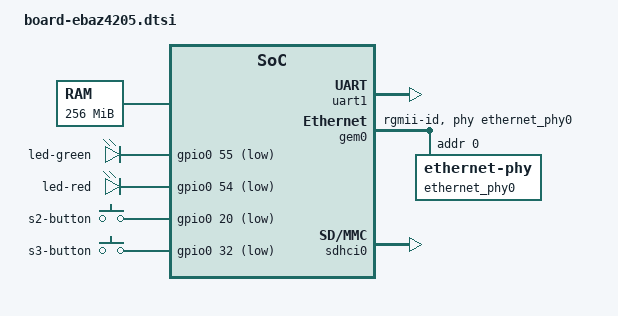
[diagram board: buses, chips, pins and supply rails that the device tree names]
/ {
	chosen {
		bootargs = "console=ttyPS0,115200 earlyprintk root=/dev/mmcblk0p2 rw";
                stdout-path = "serial0:115200n8";
	};

        aliases {
		ethernet0 = &gem0;
		serial0 = &uart1;
		mmc0 = &sdhci0;
	};

	memory@0 {
		device_type = "memory";
		reg = <0x0 0x10000000>;
	};

        leds {
		compatible = "gpio-leds";

		led-green {
                        label = "led-green";
			gpios = <&gpio0 55 1>;
			default-state = "off";
		};
		led-red {
                        label = "led-red";
			gpios = <&gpio0 54 1>;
			default-state = "off";
		};
        };

        buttons {
                compatible = "gpio-keys-polled";
                poll-interval = <100>;

                s2-button {
                        gpios = <&gpio0 20 1>;
                        label = "s2-button";
                        default-state = "keep";
                        linux,code = <106>;
                        autorepeat;
                };
                s3-button {
                        gpios = <&gpio0 32 1>;
                        label = "s3-button";
                        default-state = "keep";
                        linux,code = <105>;
                        autorepeat;
                };
        };
};

&uart1 {
       u-boot,dm-pre-reloc;
       status = "okay";
};

&gem0 {
	status = "okay";
        phy-mode = "rgmii-id";
	phy-handle = <&ethernet_phy0>;

	ethernet_phy0: ethernet-phy@0 {
		reg = <0>;
		device_type = "ethernet-phy";
	};
};

&sdhci0 {
	u-boot,dm-pre-reloc;
	status = "okay";
};

&gpio0 {
        gpio-mask-low = <0x5600>;
};
